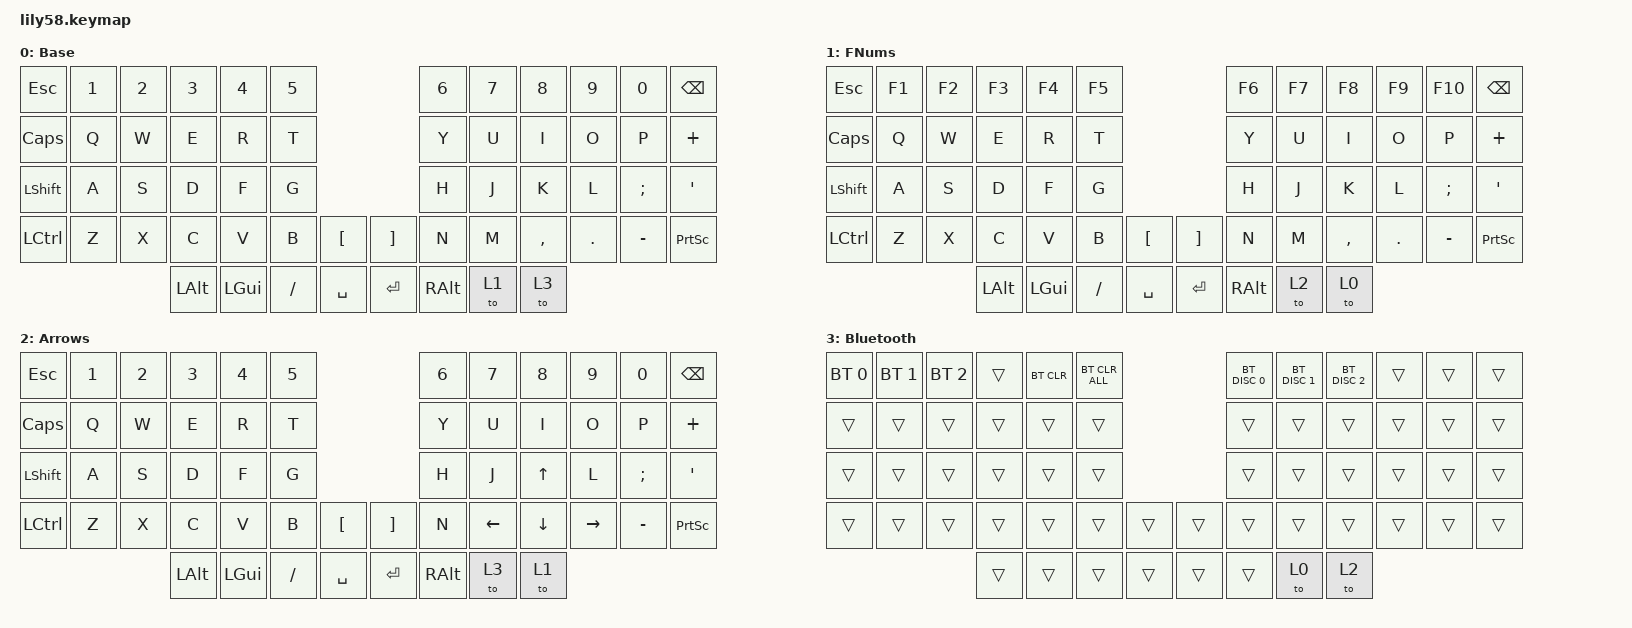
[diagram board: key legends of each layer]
/*
 * Copyright (c) 2020 The ZMK Contributors
 *
 * SPDX-License-Identifier: MIT
 */

#include <behaviors.dtsi>
#include <dt-bindings/zmk/bt.h>
#include <dt-bindings/zmk/keys.h>

/ {
    keymap {
        compatible = "zmk,keymap";

        Default {
            // ------------------------------------------------------------------------------------------------------------
            // |  ESC  |  1  |  2  |  3   |  4   |  5   |                   |  6   |  7    |  8    |  9   |   0   |   `   |
            // |  TAB  |  Q  |  W  |  E   |  R   |  T   |                   |  Y   |  U    |  I    |  O   |   P   |   -   |
            // |  CTRL |  A  |  S  |  D   |  F   |  G   |                   |  H   |  J    |  K    |  L   |   ;   |   '   |
            // | SHIFT |  Z  |  X  |  C   |  V   |  B   |   "["  |  |  "]"  |  N   |  M    |  ,    |  .   |   /   | SHIFT |
            //                     | ALT  | GUI  | LOWER|  SPACE |  | ENTER | RAISE| BSPC  | GUI   |

            display-name = "Base";
            bindings = <
&kp ESC         &kp N1  &kp N2  &kp N3    &kp N4    &kp N5                            &kp N6         &kp N7  &kp N8     &kp N9   &kp N0     &kp BACKSPACE
&kp CAPSLOCK    &kp Q   &kp W   &kp E     &kp R     &kp T                             &kp Y          &kp U   &kp I      &kp O    &kp P      &kp PLUS
&kp LEFT_SHIFT  &kp A   &kp S   &kp D     &kp F     &kp G                             &kp H          &kp J   &kp K      &kp L    &kp SEMI   &kp SQT
&kp LCTRL       &kp Z   &kp X   &kp C     &kp V     &kp B      &kp LBKT     &kp RBKT  &kp N          &kp M   &kp COMMA  &kp DOT  &kp MINUS  &kp PRINTSCREEN
                                &kp LALT  &kp LGUI  &kp SLASH  &kp SPACE    &kp RET   &kp RIGHT_ALT  &to 1   &to 3
            >;
        };

        FNums {
            display-name = "FNums";
            bindings = <
&kp ESC         &kp F1  &kp F2  &kp F3    &kp F4    &kp F5                            &kp F6         &kp F7  &kp F8     &kp F9   &kp F10    &kp BACKSPACE
&kp CAPSLOCK    &kp Q   &kp W   &kp E     &kp R     &kp T                             &kp Y          &kp U   &kp I      &kp O    &kp P      &kp PLUS
&kp LEFT_SHIFT  &kp A   &kp S   &kp D     &kp F     &kp G                             &kp H          &kp J   &kp K      &kp L    &kp SEMI   &kp SQT
&kp LCTRL       &kp Z   &kp X   &kp C     &kp V     &kp B      &kp LBKT     &kp RBKT  &kp N          &kp M   &kp COMMA  &kp DOT  &kp MINUS  &kp PRINTSCREEN
                                &kp LALT  &kp LGUI  &kp SLASH  &kp SPACE    &kp RET   &kp RIGHT_ALT  &to 2   &to 0
            >;
        };

        Arrows {
            display-name = "Arrows";
            bindings = <
&kp ESC         &kp N1  &kp N2  &kp N3    &kp N4    &kp N5                            &kp N6         &kp N7          &kp N8          &kp N9           &kp N0     &kp BACKSPACE
&kp CAPSLOCK    &kp Q   &kp W   &kp E     &kp R     &kp T                             &kp Y          &kp U           &kp I           &kp O            &kp P      &kp PLUS
&kp LEFT_SHIFT  &kp A   &kp S   &kp D     &kp F     &kp G                             &kp H          &kp J           &kp UP_ARROW    &kp L            &kp SEMI   &kp SQT
&kp LCTRL       &kp Z   &kp X   &kp C     &kp V     &kp B      &kp LBKT     &kp RBKT  &kp N          &kp LEFT_ARROW  &kp DOWN_ARROW  &kp RIGHT_ARROW  &kp MINUS  &kp PRINTSCREEN
                                &kp LALT  &kp LGUI  &kp SLASH  &kp SPACE    &kp RET   &kp RIGHT_ALT  &to 3           &to 1
            >;
        };

        Bluetooth {
            bindings = <
&bt BT_SEL 0  &bt BT_SEL 1  &bt BT_SEL 2  &trans  &bt BT_CLR  &bt BT_CLR_ALL                    &bt BT_DISC 0  &bt BT_DISC 1  &bt BT_DISC 2  &trans  &trans  &trans
&trans        &trans        &trans        &trans  &trans      &trans                            &trans         &trans         &trans         &trans  &trans  &trans
&trans        &trans        &trans        &trans  &trans      &trans                            &trans         &trans         &trans         &trans  &trans  &trans
&trans        &trans        &trans        &trans  &trans      &trans          &trans    &trans  &trans         &trans         &trans         &trans  &trans  &trans
                                          &trans  &trans      &trans          &trans    &trans  &trans         &to 0          &to 2
            >;

            label = "Bluetooth";
        };
    };
};
